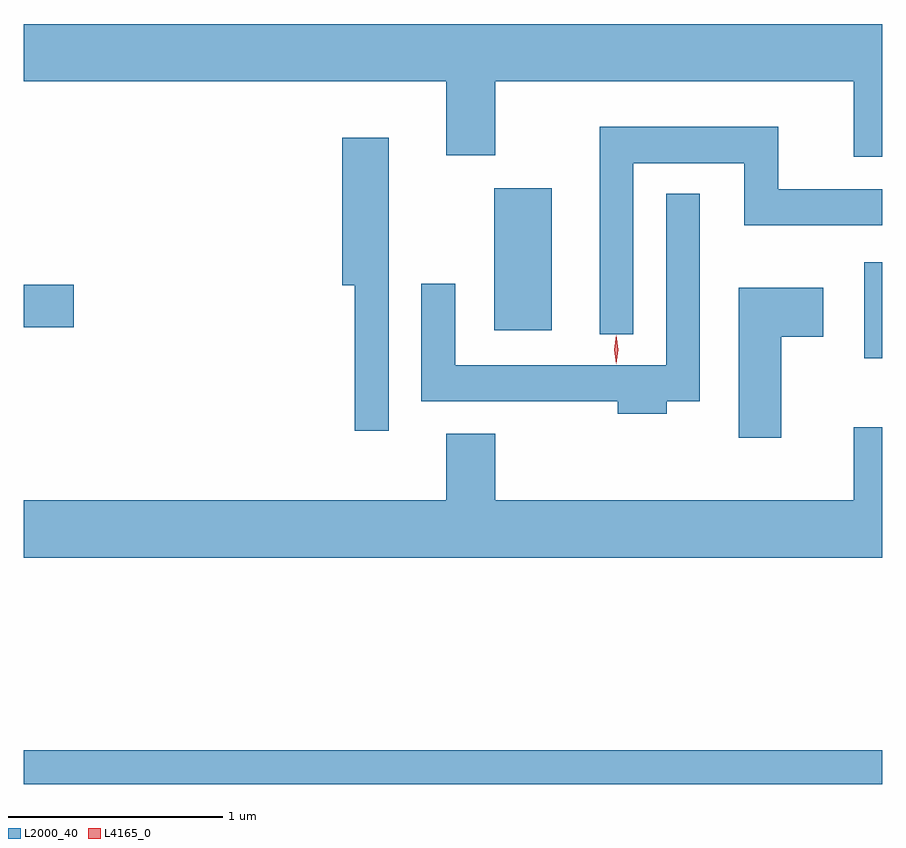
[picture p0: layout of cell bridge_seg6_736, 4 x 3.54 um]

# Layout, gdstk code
import gdstk
lib = gdstk.Library(unit=1e-6, precision=1e-09)
def R(c, l, rs):  # rectangles x0, y0, x1, y1
    for r in rs: c.add(gdstk.rectangle(r[:2], r[2:], *l))
def P(c, l, *ps):  # polygons
    for p in ps: c.add(gdstk.Polygon(p, *l))
L2000_40 = (2000, 40)
L4165_0 = (4165, 0)

bridge_seg6_736 = lib.new_cell('bridge_seg6_736')
R(bridge_seg6_736, L2000_40, [(488.353,1577.841,492.353,1577.999), (492.271,1579.826,492.353,1580.274), (490.546,1579.956,490.814,1580.619), (488.353,1579.971,488.584,1580.169)])
P(bridge_seg6_736, L2000_40, [(488.353,1581.116),(490.321,1581.116),(490.321,1580.771),(490.549,1580.771),(490.549,1581.116),(492.221,1581.116),(492.221,1580.766),(492.353,1580.766),(492.353,1581.384),(488.353,1581.384)],
  [(491.194,1580.736),(491.711,1580.736),(491.711,1580.446),(492.353,1580.446),(492.353,1580.614),(491.869,1580.614),(491.869,1580.904),(491.036,1580.904),(491.036,1579.938),(491.194,1579.938)],
  [(490.054,1580.854),(489.836,1580.854),(489.836,1580.166),(489.896,1580.166),(489.896,1579.488),(490.054,1579.488)],
  [(491.349,1579.626),(491.504,1579.626),(491.504,1580.593),(491.346,1580.593),(491.346,1579.794),(490.364,1579.794),(490.364,1580.173),(490.206,1580.173),(490.206,1579.626),(491.121,1579.626),(491.121,1579.566),(491.349,1579.566)],
  [(491.884,1579.926),(492.079,1579.926),(492.079,1580.154),(491.686,1580.154),(491.686,1579.456),(491.884,1579.456)],
  [(492.353,1579.504),(492.221,1579.504),(492.221,1579.164),(490.549,1579.164),(490.549,1579.474),(490.321,1579.474),(490.321,1579.164),(488.353,1579.164),(488.353,1578.896),(492.353,1578.896)])
P(bridge_seg6_736, L4165_0, [(491.114,1579.799),(491.113,1579.8),(491.104,1579.866),(491.113,1579.932),(491.114,1579.933),(491.114,1579.932),(491.124,1579.866),(491.114,1579.8)])

lib.write_gds('bridge_seg6_736.gds')
